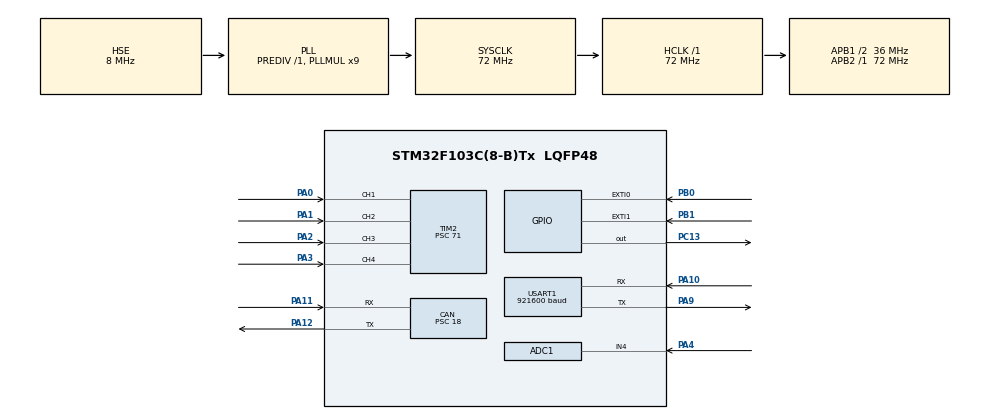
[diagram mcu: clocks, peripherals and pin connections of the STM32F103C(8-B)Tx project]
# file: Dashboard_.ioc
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ADC1.Channel-0\#ChannelRegularConversion=ADC_CHANNEL_4
ADC1.ContinuousConvMode=ENABLE
ADC1.NbrOfConversionFlag=1
ADC1.Rank-0\#ChannelRegularConversion=1
ADC1.SamplingTime-0\#ChannelRegularConversion=ADC_SAMPLETIME_1CYCLE_5
ADC1.master=1
CAN.BS1=CAN_BS1_14TQ
CAN.CalculateBaudRate=125000
CAN.CalculateTimeBit=8000
CAN.CalculateTimeQuantum=500.0
CAN.Prescaler=18
Mcu.Family=STM32F1
Mcu.Name=STM32F103C(8-B)Tx
Mcu.Package=LQFP48
NVIC.CAN1_RX1_IRQn=true\:0\:0\:false\:false\:true\:true\:true\:true
NVIC.EXTI0_IRQn=true\:0\:0\:false\:false\:true\:true\:true\:true
NVIC.EXTI1_IRQn=true\:0\:0\:false\:false\:true\:true\:true\:true
NVIC.PriorityGroup=NVIC_PRIORITYGROUP_4
NVIC.TIM1_UP_IRQn=true\:0\:0\:false\:false\:true\:true\:true\:true
NVIC.TIM2_IRQn=true\:0\:0\:false\:false\:true\:true\:true\:true
NVIC.TIM3_IRQn=true\:0\:0\:false\:false\:true\:true\:true\:true
NVIC.TIM4_IRQn=true\:0\:0\:false\:false\:true\:true\:true\:true
NVIC.USART1_IRQn=true\:0\:0\:false\:false\:true\:true\:true\:true
NVIC.USB_LP_CAN1_RX0_IRQn=true\:0\:0\:false\:false\:true\:true\:true\:true
PA0-WKUP.Signal=S_TIM2_CH1_ETR
PA1.Signal=S_TIM2_CH2
PA10.Mode=Asynchronous
PA10.Signal=USART1_RX
PA11.Mode=CAN_Activate
PA11.Signal=CAN_RX
PA12.Mode=CAN_Activate
PA12.Signal=CAN_TX
PA13.Mode=Serial_Wire
PA13.Signal=SYS_JTMS-SWDIO
PA14.Mode=Serial_Wire
PA14.Signal=SYS_JTCK-SWCLK
PA2.Signal=S_TIM2_CH3
PA3.Signal=S_TIM2_CH4
PA4.Signal=ADCx_IN4
PA9.Mode=Asynchronous
PA9.Signal=USART1_TX
PB0.Signal=GPXTI0
PB1.Signal=GPXTI1
PC13-TAMPER-RTC.Signal=GPIO_Output
PD0-OSC_IN.Mode=HSE-External-Oscillator
PD0-OSC_IN.Signal=RCC_OSC_IN
PD1-OSC_OUT.Mode=HSE-External-Oscillator
PD1-OSC_OUT.Signal=RCC_OSC_OUT
ProjectManager.HeapSize=0x200
ProjectManager.StackSize=0x400
ProjectManager.TargetToolchain=STM32CubeIDE
RCC.ADCPresc=RCC_ADCPCLK2_DIV6
RCC.AHBFreq_Value=72000000
RCC.APB1CLKDivider=RCC_HCLK_DIV2
RCC.APB1Freq_Value=36000000
RCC.APB1TimFreq_Value=72000000
RCC.APB2Freq_Value=72000000
RCC.APB2TimFreq_Value=72000000
RCC.HCLKFreq_Value=72000000
RCC.PLLMUL=RCC_PLL_MUL9
RCC.PLLSourceVirtual=RCC_PLLSOURCE_HSE
RCC.SYSCLKFreq_VALUE=72000000
RCC.SYSCLKSource=RCC_SYSCLKSOURCE_PLLCLK
RCC.USBFreq_Value=72000000
SH.ADCx_IN4.0=ADC1_IN4,IN4
SH.S_TIM2_CH1_ETR.0=TIM2_CH1,Input_Capture1_from_TI1
SH.S_TIM2_CH2.0=TIM2_CH2,Input_Capture2_from_TI2
SH.S_TIM2_CH3.0=TIM2_CH3,Input_Capture3_from_TI3
SH.S_TIM2_CH4.0=TIM2_CH4,Input_Capture4_from_TI4
TIM1.Period=19999
TIM1.Prescaler=7199
TIM2.Channel-Input_Capture1_from_TI1=TIM_CHANNEL_1
TIM2.Channel-Input_Capture2_from_TI2=TIM_CHANNEL_2
TIM2.Channel-Input_Capture3_from_TI3=TIM_CHANNEL_3
TIM2.Channel-Input_Capture4_from_TI4=TIM_CHANNEL_4
TIM2.Prescaler=71
TIM3.Period=9999
TIM3.Prescaler=7199
TIM4.Period=9999
TIM4.Prescaler=71
USART1.BaudRate=921600
USART1.VirtualMode=VM_ASYNC
VP_TIM1_VS_ClockSourceINT.Mode=Internal
VP_TIM3_VS_ClockSourceINT.Mode=Internal
VP_TIM4_VS_ClockSourceINT.Mode=Internal
board=custom

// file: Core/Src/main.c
/* USER CODE BEGIN Header */
/**
  ******************************************************************************
  * @file           : main.c
  * @brief          : Main program body
  ******************************************************************************
  * @attention
  *
  * Copyright (c) 2025 STMicroelectronics.
  * All rights reserved.
  *
  * This software is licensed under terms that can be found in the LICENSE file
  * in the root directory of this software component.
  * If no LICENSE file comes with this software, it is provided AS-IS.
  *
  ******************************************************************************
  */
/* USER CODE END Header */
#include "main.h"

/* USER CODE BEGIN Includes */
#include "string.h"

#include "Nextion_int.h"

#include "Dashboard_int.h"
#include "Dashboard_config.h"

#include "PROX_int.h"
#include "PROX_config.h"

/* USER CODE END Includes */

ADC_HandleTypeDef hadc1;

CAN_HandleTypeDef hcan;

TIM_HandleTypeDef htim1;
TIM_HandleTypeDef htim2;
TIM_HandleTypeDef htim3;
TIM_HandleTypeDef htim4;

UART_HandleTypeDef huart1;

/* USER CODE BEGIN PV */
uint32_t Global_u32Variable_Overflow_Counter = 0;

extern Nextion Lap_Time;
extern Nextion Last_Lap;
extern Nextion Best_Lap;

extern Nextion ERPM_Slider;
extern Nextion Temp_Slider;
extern Nextion Throttle_Slider;
extern Nextion Brake_Slider;
extern Nextion Battery_Perc;

uint16_t adc_value = 0;
/* USER CODE END PV */

void SystemClock_Config(void);
static void MX_GPIO_Init(void);
static void MX_CAN_Init(void);
static void MX_TIM1_Init(void);
static void MX_TIM2_Init(void);
static void MX_TIM3_Init(void);
static void MX_TIM4_Init(void);
static void MX_USART1_UART_Init(void);
static void MX_ADC1_Init(void);

/* USER CODE BEGIN 0 */
//uint64_t aData = 0;

void HAL_CAN_RxFifo0MsgPendingCallback(CAN_HandleTypeDef *hcan)
{
	CAN_Message(hcan);
}

void HAL_GPIO_EXTI_Callback(uint16_t GPIO_Pin)
{
	if((GPIO_Pin == EXTI_CONTINUE_PAUSE_BUTTON) || (GPIO_Pin == EXTI_COUNT_STOP_BUTTON))
	{
		LabTimer_Buttons_Callback(&htim3, GPIO_Pin);
	}
}

void HAL_TIM_IC_CaptureCallback(TIM_HandleTypeDef *htim)
{
	if(htim->Instance == PROX_TIMER_NO)
	{
		PROX_ICUCallBack_ISR(&PROX_TIMER_HANDLE);
	}
}

void HAL_TIM_PeriodElapsedCallback(TIM_HandleTypeDef *htim)
{
  if(htim->Instance == PROX_VELOCITY_RESET_NO)
  {
	  // ICU timeout.
	  PROX_ResetVelocity(&PROX_VELOCITY_RESET_HANDLE);
  }

  if(htim->Instance == PROX_TIMER_NO)
  {
	  Global_u32Variable_Overflow_Counter++;
  }

  if(htim->Instance == DASHBOARD_BUTTONS_DEBOUNCE_TIMER_NO)
  {
	  Debouncing_CallBack(&DASHBOARD_BUTTONS_DEBOUNCE_TIMER_HANDLE);
  }

  if(htim->Instance == DASHBOARD_LABSTOPWATCH_TIMER_NO)
  {
  	  LabTimer_CallBack_ISR();
  }
}

/* USER CODE END 0 */

int main(void)
{

  /* MCU Configuration--------------------------------------------------------*/

  /* Reset of all peripherals, Initializes the Flash interface and the Systick. */
  HAL_Init();

  /* Configure the system clock */
  SystemClock_Config();

  /* Initialize all configured peripherals */
  MX_GPIO_Init();
  MX_CAN_Init();
  MX_TIM1_Init();
  MX_TIM2_Init();
  MX_TIM3_Init();
  MX_TIM4_Init();
  MX_USART1_UART_Init();
  MX_ADC1_Init();
  /* USER CODE BEGIN 2 */
  HAL_CAN_ActivateNotification(&hcan,CAN_IT_RX_FIFO0_MSG_PENDING);
  HAL_CAN_Start(&hcan);

  Dashboard_Init();
  PROX_INIT();

  HAL_ADC_Start(&hadc1);

  /* USER CODE END 2 */

  /* Infinite loop */
  while (1)
  {

    /* USER CODE BEGIN 3 */
	  HAL_ADC_PollForConversion(&hadc1, HAL_MAX_DELAY);

	  adc_value = HAL_ADC_GetValue(&hadc1);

	  Nextion_SetVal(&huart1, &Throttle_Slider, (adc_value/4095.0)*100);
	  Nextion_SetVal(&huart1, &Brake_Slider, (adc_value/4095.0)*100);
	  Nextion_SetVal(&huart1, &Temp_Slider, (adc_value/4095.0)*100);
	  Nextion_SetVal(&huart1, &ERPM_Slider, (adc_value/4095.0)*100);

	  HAL_Delay(15);
  }
  /* USER CODE END 3 */
}

void SystemClock_Config(void)
{
  RCC_OscInitTypeDef RCC_OscInitStruct = {0};
  RCC_ClkInitTypeDef RCC_ClkInitStruct = {0};
  RCC_PeriphCLKInitTypeDef PeriphClkInit = {0};

  /** Initializes the RCC Oscillators according to the specified parameters
  * in the RCC_OscInitTypeDef structure.
  */
  RCC_OscInitStruct.OscillatorType = RCC_OSCILLATORTYPE_HSE;
  RCC_OscInitStruct.HSEState = RCC_HSE_ON;
  RCC_OscInitStruct.HSEPredivValue = RCC_HSE_PREDIV_DIV1;
  RCC_OscInitStruct.HSIState = RCC_HSI_ON;
  RCC_OscInitStruct.PLL.PLLState = RCC_PLL_ON;
  RCC_OscInitStruct.PLL.PLLSource = RCC_PLLSOURCE_HSE;
  RCC_OscInitStruct.PLL.PLLMUL = RCC_PLL_MUL9;
  if (HAL_RCC_OscConfig(&RCC_OscInitStruct) != HAL_OK)
  {
    Error_Handler();
  }

  /** Initializes the CPU, AHB and APB buses clocks
  */
  RCC_ClkInitStruct.ClockType = RCC_CLOCKTYPE_HCLK|RCC_CLOCKTYPE_SYSCLK
                              |RCC_CLOCKTYPE_PCLK1|RCC_CLOCKTYPE_PCLK2;
  RCC_ClkInitStruct.SYSCLKSource = RCC_SYSCLKSOURCE_PLLCLK;
  RCC_ClkInitStruct.AHBCLKDivider = RCC_SYSCLK_DIV1;
  RCC_ClkInitStruct.APB1CLKDivider = RCC_HCLK_DIV2;
  RCC_ClkInitStruct.APB2CLKDivider = RCC_HCLK_DIV1;

  if (HAL_RCC_ClockConfig(&RCC_ClkInitStruct, FLASH_LATENCY_2) != HAL_OK)
  {
    Error_Handler();
  }
  PeriphClkInit.PeriphClockSelection = RCC_PERIPHCLK_ADC;
  PeriphClkInit.AdcClockSelection = RCC_ADCPCLK2_DIV6;
  if (HAL_RCCEx_PeriphCLKConfig(&PeriphClkInit) != HAL_OK)
  {
    Error_Handler();
  }
}

static void MX_ADC1_Init(void)
{

  ADC_ChannelConfTypeDef sConfig = {0};

  /** Common config
  */
  hadc1.Instance = ADC1;
  hadc1.Init.ScanConvMode = ADC_SCAN_DISABLE;
  hadc1.Init.ContinuousConvMode = ENABLE;
  hadc1.Init.DiscontinuousConvMode = DISABLE;
  hadc1.Init.ExternalTrigConv = ADC_SOFTWARE_START;
  hadc1.Init.DataAlign = ADC_DATAALIGN_RIGHT;
  hadc1.Init.NbrOfConversion = 1;
  if (HAL_ADC_Init(&hadc1) != HAL_OK)
  {
    Error_Handler();
  }

  /** Configure Regular Channel
  */
  sConfig.Channel = ADC_CHANNEL_4;
  sConfig.Rank = ADC_REGULAR_RANK_1;
  sConfig.SamplingTime = ADC_SAMPLETIME_1CYCLE_5;
  if (HAL_ADC_ConfigChannel(&hadc1, &sConfig) != HAL_OK)
  {
    Error_Handler();
  }

}

static void MX_CAN_Init(void)
{

  hcan.Instance = CAN1;
  hcan.Init.Prescaler = 18;
  hcan.Init.Mode = CAN_MODE_NORMAL;
  hcan.Init.SyncJumpWidth = CAN_SJW_1TQ;
  hcan.Init.TimeSeg1 = CAN_BS1_14TQ;
  hcan.Init.TimeSeg2 = CAN_BS2_1TQ;
  hcan.Init.TimeTriggeredMode = DISABLE;
  hcan.Init.AutoBusOff = DISABLE;
  hcan.Init.AutoWakeUp = DISABLE;
  hcan.Init.AutoRetransmission = DISABLE;
  hcan.Init.ReceiveFifoLocked = DISABLE;
  hcan.Init.TransmitFifoPriority = DISABLE;
  if (HAL_CAN_Init(&hcan) != HAL_OK)
  {
    Error_Handler();
  }
  /* USER CODE BEGIN CAN_Init 2 */
  CAN_FilterTypeDef canfilterconfig;

  canfilterconfig.FilterActivation = CAN_FILTER_ENABLE;
  canfilterconfig.FilterBank = 0;
  canfilterconfig.FilterFIFOAssignment = CAN_FILTER_FIFO0;
  canfilterconfig.FilterIdHigh = 0x0<<5;
  canfilterconfig.FilterIdLow = 0;
  canfilterconfig.FilterMaskIdHigh = 0x0<<5;
  canfilterconfig.FilterMaskIdLow = 0x0000;
  canfilterconfig.FilterMode = CAN_FILTERMODE_IDMASK;
  canfilterconfig.FilterScale = CAN_FILTERSCALE_16BIT;

  HAL_CAN_ConfigFilter(&hcan, &canfilterconfig);

  /* USER CODE END CAN_Init 2 */

}

static void MX_TIM1_Init(void)
{

  TIM_ClockConfigTypeDef sClockSourceConfig = {0};
  TIM_MasterConfigTypeDef sMasterConfig = {0};

  htim1.Instance = TIM1;
  htim1.Init.Prescaler = 7199;
  htim1.Init.CounterMode = TIM_COUNTERMODE_UP;
  htim1.Init.Period = 19999;
  htim1.Init.ClockDivision = TIM_CLOCKDIVISION_DIV1;
  htim1.Init.RepetitionCounter = 0;
  htim1.Init.AutoReloadPreload = TIM_AUTORELOAD_PRELOAD_DISABLE;
  if (HAL_TIM_Base_Init(&htim1) != HAL_OK)
  {
    Error_Handler();
  }
  sClockSourceConfig.ClockSource = TIM_CLOCKSOURCE_INTERNAL;
  if (HAL_TIM_ConfigClockSource(&htim1, &sClockSourceConfig) != HAL_OK)
  {
    Error_Handler();
  }
  sMasterConfig.MasterOutputTrigger = TIM_TRGO_RESET;
  sMasterConfig.MasterSlaveMode = TIM_MASTERSLAVEMODE_DISABLE;
  if (HAL_TIMEx_MasterConfigSynchronization(&htim1, &sMasterConfig) != HAL_OK)
  {
    Error_Handler();
  }

}

static void MX_TIM2_Init(void)
{

  TIM_MasterConfigTypeDef sMasterConfig = {0};
  TIM_IC_InitTypeDef sConfigIC = {0};

  htim2.Instance = TIM2;
  htim2.Init.Prescaler = 71;
  htim2.Init.CounterMode = TIM_COUNTERMODE_UP;
  htim2.Init.Period = 65535;
  htim2.Init.ClockDivision = TIM_CLOCKDIVISION_DIV1;
  htim2.Init.AutoReloadPreload = TIM_AUTORELOAD_PRELOAD_DISABLE;
  if (HAL_TIM_IC_Init(&htim2) != HAL_OK)
  {
    Error_Handler();
  }
  sMasterConfig.MasterOutputTrigger = TIM_TRGO_RESET;
  sMasterConfig.MasterSlaveMode = TIM_MASTERSLAVEMODE_DISABLE;
  if (HAL_TIMEx_MasterConfigSynchronization(&htim2, &sMasterConfig) != HAL_OK)
  {
    Error_Handler();
  }
  sConfigIC.ICPolarity = TIM_INPUTCHANNELPOLARITY_RISING;
  sConfigIC.ICSelection = TIM_ICSELECTION_DIRECTTI;
  sConfigIC.ICPrescaler = TIM_ICPSC_DIV1;
  sConfigIC.ICFilter = 0;
  if (HAL_TIM_IC_ConfigChannel(&htim2, &sConfigIC, TIM_CHANNEL_1) != HAL_OK)
  {
    Error_Handler();
  }
  if (HAL_TIM_IC_ConfigChannel(&htim2, &sConfigIC, TIM_CHANNEL_2) != HAL_OK)
  {
    Error_Handler();
  }
  if (HAL_TIM_IC_ConfigChannel(&htim2, &sConfigIC, TIM_CHANNEL_3) != HAL_OK)
  {
    Error_Handler();
  }
  if (HAL_TIM_IC_ConfigChannel(&htim2, &sConfigIC, TIM_CHANNEL_4) != HAL_OK)
  {
    Error_Handler();
  }

}

static void MX_TIM3_Init(void)
{

  TIM_ClockConfigTypeDef sClockSourceConfig = {0};
  TIM_MasterConfigTypeDef sMasterConfig = {0};

  htim3.Instance = TIM3;
  htim3.Init.Prescaler = 7199;
  htim3.Init.CounterMode = TIM_COUNTERMODE_UP;
  htim3.Init.Period = 9999;
  htim3.Init.ClockDivision = TIM_CLOCKDIVISION_DIV1;
  htim3.Init.AutoReloadPreload = TIM_AUTORELOAD_PRELOAD_DISABLE;
  if (HAL_TIM_Base_Init(&htim3) != HAL_OK)
  {
    Error_Handler();
  }
  sClockSourceConfig.ClockSource = TIM_CLOCKSOURCE_INTERNAL;
  if (HAL_TIM_ConfigClockSource(&htim3, &sClockSourceConfig) != HAL_OK)
  {
    Error_Handler();
  }
  sMasterConfig.MasterOutputTrigger = TIM_TRGO_RESET;
  sMasterConfig.MasterSlaveMode = TIM_MASTERSLAVEMODE_DISABLE;
  if (HAL_TIMEx_MasterConfigSynchronization(&htim3, &sMasterConfig) != HAL_OK)
  {
    Error_Handler();
  }

}

static void MX_TIM4_Init(void)
{

  TIM_ClockConfigTypeDef sClockSourceConfig = {0};
  TIM_MasterConfigTypeDef sMasterConfig = {0};

  htim4.Instance = TIM4;
  htim4.Init.Prescaler = 71;
  htim4.Init.CounterMode = TIM_COUNTERMODE_UP;
  htim4.Init.Period = 9999;
  htim4.Init.ClockDivision = TIM_CLOCKDIVISION_DIV1;
  htim4.Init.AutoReloadPreload = TIM_AUTORELOAD_PRELOAD_DISABLE;
  if (HAL_TIM_Base_Init(&htim4) != HAL_OK)
  {
    Error_Handler();
  }
  sClockSourceConfig.ClockSource = TIM_CLOCKSOURCE_INTERNAL;
  if (HAL_TIM_ConfigClockSource(&htim4, &sClockSourceConfig) != HAL_OK)
  {
    Error_Handler();
  }
  sMasterConfig.MasterOutputTrigger = TIM_TRGO_RESET;
  sMasterConfig.MasterSlaveMode = TIM_MASTERSLAVEMODE_DISABLE;
  if (HAL_TIMEx_MasterConfigSynchronization(&htim4, &sMasterConfig) != HAL_OK)
  {
    Error_Handler();
  }

}

static void MX_USART1_UART_Init(void)
{

  huart1.Instance = USART1;
  huart1.Init.BaudRate = 921600;
  huart1.Init.WordLength = UART_WORDLENGTH_8B;
  huart1.Init.StopBits = UART_STOPBITS_1;
  huart1.Init.Parity = UART_PARITY_NONE;
  huart1.Init.Mode = UART_MODE_TX_RX;
  huart1.Init.HwFlowCtl = UART_HWCONTROL_NONE;
  huart1.Init.OverSampling = UART_OVERSAMPLING_16;
  if (HAL_UART_Init(&huart1) != HAL_OK)
  {
    Error_Handler();
  }

}

static void MX_GPIO_Init(void)
{
  GPIO_InitTypeDef GPIO_InitStruct = {0};

  /* GPIO Ports Clock Enable */
  __HAL_RCC_GPIOC_CLK_ENABLE();
  __HAL_RCC_GPIOD_CLK_ENABLE();
  __HAL_RCC_GPIOA_CLK_ENABLE();
  __HAL_RCC_GPIOB_CLK_ENABLE();

  /*Configure GPIO pin Output Level */
  HAL_GPIO_WritePin(GPIOC, GPIO_PIN_13, GPIO_PIN_RESET);

  /*Configure GPIO pin : PC13 */
  GPIO_InitStruct.Pin = GPIO_PIN_13;
  GPIO_InitStruct.Mode = GPIO_MODE_OUTPUT_PP;
  GPIO_InitStruct.Pull = GPIO_NOPULL;
  GPIO_InitStruct.Speed = GPIO_SPEED_FREQ_LOW;
  HAL_GPIO_Init(GPIOC, &GPIO_InitStruct);

  /*Configure GPIO pins : PB0 PB1 */
  GPIO_InitStruct.Pin = GPIO_PIN_0|GPIO_PIN_1;
  GPIO_InitStruct.Mode = GPIO_MODE_IT_RISING;
  GPIO_InitStruct.Pull = GPIO_NOPULL;
  HAL_GPIO_Init(GPIOB, &GPIO_InitStruct);

  /* EXTI interrupt init*/
  HAL_NVIC_SetPriority(EXTI0_IRQn, 0, 0);
  HAL_NVIC_EnableIRQ(EXTI0_IRQn);

  HAL_NVIC_SetPriority(EXTI1_IRQn, 0, 0);
  HAL_NVIC_EnableIRQ(EXTI1_IRQn);

}

void Error_Handler(void)
{
  __disable_irq();
  while (1)
  {
  }
}
